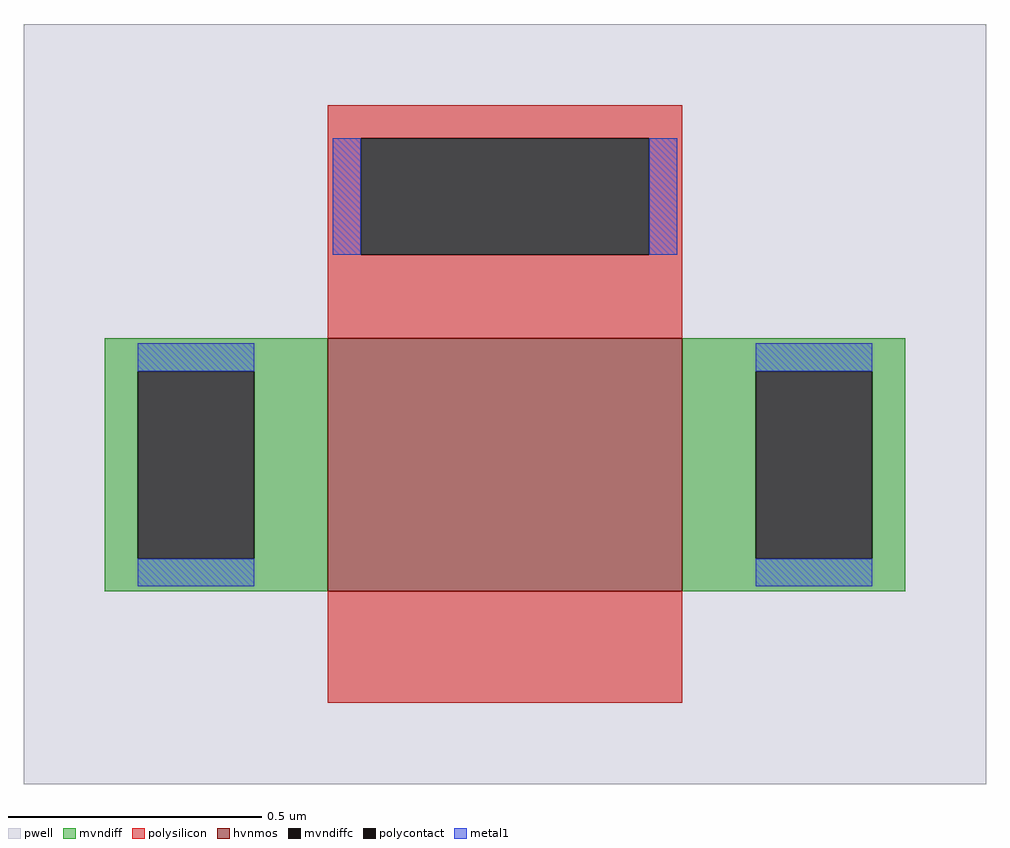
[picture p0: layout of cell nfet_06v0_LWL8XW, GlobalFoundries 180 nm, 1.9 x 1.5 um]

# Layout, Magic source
magic
tech gf180mcuD
magscale 1 10
<< pwell >>
rect -190 -150 190 150
<< hvnmos >>
rect -70 -74 70 26
<< mvndiff >>
rect -158 13 -70 26
rect -158 -61 -145 13
rect -99 -61 -70 13
rect -158 -74 -70 -61
rect 70 13 158 26
rect 70 -61 99 13
rect 145 -61 158 13
rect 70 -74 158 -61
<< mvndiffc >>
rect -145 -61 -99 13
rect 99 -61 145 13
<< polysilicon >>
rect -70 105 70 118
rect -70 59 -57 105
rect 57 59 70 105
rect -70 26 70 59
rect -70 -118 70 -74
<< polycontact >>
rect -57 59 57 105
<< metal1 >>
rect -68 59 -57 105
rect 57 59 68 105
rect -145 13 -99 24
rect -145 -72 -99 -61
rect 99 13 145 24
rect 99 -72 145 -61
<< properties >>
string gencell nfet_06v0
string library gf180mcu
string parameters w 0.5 l 0.7 m 1 nf 1 diffcov 100 polycov 100 guard 0 glc 0 grc 0 gtc 0 gbc 0 tbcov 100 rlcov 100 topc 1 botc 0 poverlap 0 doverlap 1 lmin 0.7 wmin 0.3 class mosfet full_metal 0 compatible {nfet_03v3 nfet_05v0 nfet_06v0 nfet_06v0_nvt}
<< end >>
